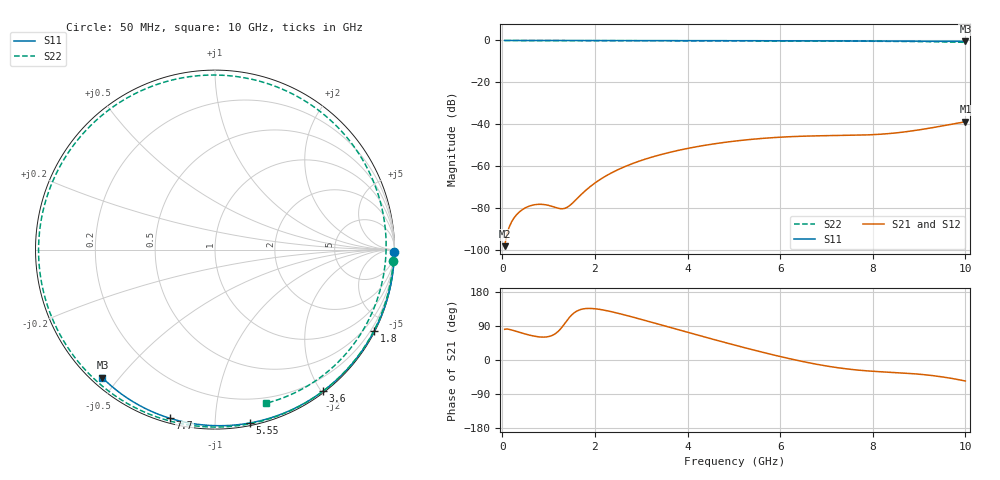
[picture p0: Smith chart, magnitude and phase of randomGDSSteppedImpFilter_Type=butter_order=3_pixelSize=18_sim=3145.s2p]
! freq	dB(S11)	phase(S11)	dB(S12)	phase(S12)
!  dB(S21)	phase(S21)	dB(S22)	phase(S22)
!S-par simulation data
#  GHz  S  DB  R 50
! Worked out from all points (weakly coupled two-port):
!   200 points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, 50 MHz to 10 GHz, reference 50 ohm
!   highest |S21| = -38.71 dB at 10 GHz (marker M1); lowest = -98.0 dB at 50 MHz (marker M2)
!   lowest |S11| = -0.4 dB at 10 GHz (marker M3), VSWR 39.11, Z = 1.54 - j22.6 ohm
!   |S11| at or under -10 dB: nowhere
!   |S22| runs from -0.9 to 0.0 dB; largest |S21 - S12| = 0
!   S11 on the Smith chart (normalised r, x): 50 MHz: open; 1.8 GHz: 0.04, -4.18; 3.6 GHz: 0.02, -2.02; 5.55 GHz: 0.02, -1.22; 7.7 GHz: 0.02, -0.77; 10 GHz: 0.03, -0.45
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0.05  -0.00 -0.7  -97.97 80.9  -97.97 80.9  -0.04 -3.7
0.45  -0.01 -6.8  -80.33 70.2  -80.33 70.2  -0.05 -33.8
0.9  -0.02 -13.6  -78.15 60.4  -78.15 60.4  -0.08 -65.2
1.35  -0.03 -20.3  -79.96 96.6  -79.96 96.6  -0.10 -93.0
1.75  -0.03 -26.2  -72.41 134.9  -72.41 134.9  -0.11 -114.6
1.8  -0.03 -26.9  -71.42 135.7  -71.42 135.7  -0.12 -117.1
2.15  -0.04 -32.0  -65.68 132.6  -65.68 132.6  -0.12 -133.8
2.55  -0.05 -37.8  -61.01 121.8  -61.01 121.8  -0.13 -151.1
2.95  -0.06 -43.5  -57.53 108.8  -57.53 108.8  -0.14 -166.9
3.4  -0.07 -49.8  -54.50 93.6  -54.50 93.6  -0.15 176.4
3.6  -0.07 -52.6  -53.37 86.8  -53.37 86.8  -0.16 169.3
4.3  -0.09 -62.2  -50.20 63.0  -50.20 63.0  -0.18 145.2
5.05  -0.11 -72.1  -47.85 38.3  -47.85 38.3  -0.21 119.8
5.55  -0.13 -78.6  -46.76 22.6  -46.76 22.6  -0.23 102.6
6.15  -0.15 -86.2  -45.90 5.0  -45.90 5.0  -0.25 81.6
6.7  -0.18 -93.0  -45.47 -9.2  -45.47 -9.2  -0.28 61.7
7.7  -0.24 -104.9  -45.11 -26.9  -45.11 -26.9  -0.35 23.9
8.35  -0.29 -112.5  -44.35 -32.2  -44.35 -32.2  -0.42 -1.6
8.75  -0.32 -117.1  -43.37 -35.1  -43.37 -35.1  -0.49 -17.7
9.15  -0.36 -121.7  -42.05 -39.2  -42.05 -39.2  -0.58 -34.2
9.6  -0.40 -126.8  -40.32 -46.5  -40.32 -46.5  -0.72 -53.5
10  -0.44 -131.3  -38.71 -55.4  -38.71 -55.4  -0.89 -71.7
